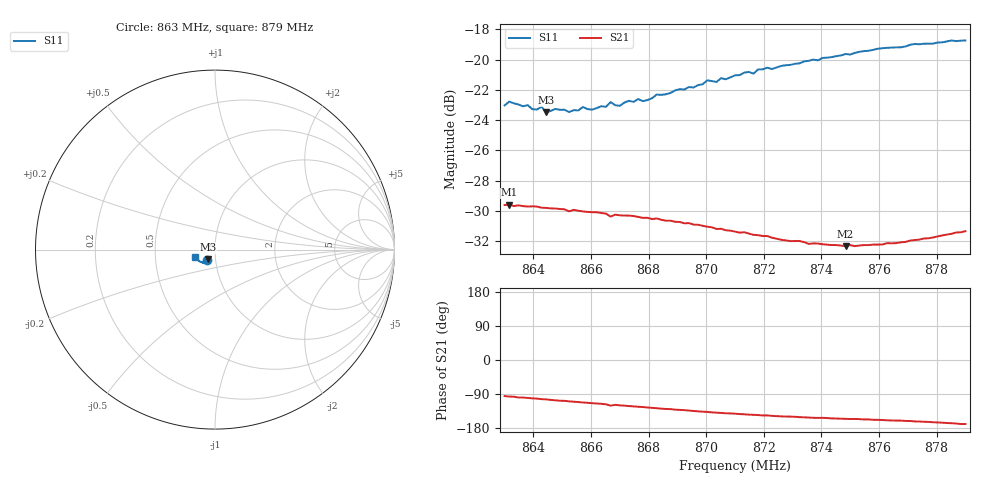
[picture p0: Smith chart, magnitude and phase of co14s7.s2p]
# HZ S RI R 50
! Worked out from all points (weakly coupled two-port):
!   101 points, 863 MHz to 879 MHz, reference 50 ohm
!   highest |S21| = -29.59 dB at 863.16 MHz (marker M1); lowest = -32.3 dB at 874.84 MHz (marker M2)
!   lowest |S11| = -23.5 dB at 864.44 MHz (marker M3), VSWR 1.14, Z = 46.1 - j5.09 ohm
!   |S11| at or under -10 dB: start of sweep to end of sweep
!   S12 and S22 are empty: the file has one direction only
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8.63e8  -0.0427 -0.0562  -0.00297 -0.0329  0 0  0 0
8.6316e8  -0.0455 -0.0566  -0.0037 -0.0329  0 0  0 0
8.638e8  -0.0425 -0.0565  -0.00571 -0.0321  0 0  0 0
8.6396e8  -0.0404 -0.0554  -0.00635 -0.0321  0 0  0 0
8.6428e8  -0.0408 -0.0567  -0.00743 -0.0315  0 0  0 0
8.6444e8  -0.0382 -0.055  -0.00779 -0.0314  0 0  0 0
8.6476e8  -0.0396 -0.0562  -0.00912 -0.0308  0 0  0 0
8.6524e8  -0.0374 -0.0557  -0.0103 -0.0298  0 0  0 0
8.6572e8  -0.0363 -0.0595  -0.0119 -0.0291  0 0  0 0
8.6604e8  -0.0355 -0.0584  -0.0127 -0.0286  0 0  0 0
8.6652e8  -0.0349 -0.0605  -0.014 -0.0276  0 0  0 0
8.6668e8  -0.0384 -0.0613  -0.0153 -0.0261  0 0  0 0
8.67e8  -0.0361 -0.0604  -0.0151 -0.0265  0 0  0 0
8.6732e8  -0.0373 -0.0628  -0.016 -0.026  0 0  0 0
8.678e8  -0.0362 -0.0633  -0.0168 -0.0248  0 0  0 0
8.6844e8  -0.0378 -0.0665  -0.0183 -0.0232  0 0  0 0
8.7004e8  -0.0451 -0.0726  -0.0205 -0.0191  0 0  0 0
8.71e8  -0.0502 -0.0731  -0.0212 -0.0167  0 0  0 0
8.7372e8  -0.0688 -0.0727  -0.0219 -0.0114  0 0  0 0
8.7484e8  -0.0784 -0.0689  -0.0219 -0.0101  0 0  0 0
8.7644e8  -0.0909 -0.0612  -0.0231 -0.0086  0 0  0 0
8.79e8  -0.1091 -0.0388  -0.0266 -0.00521  0 0  0 0
